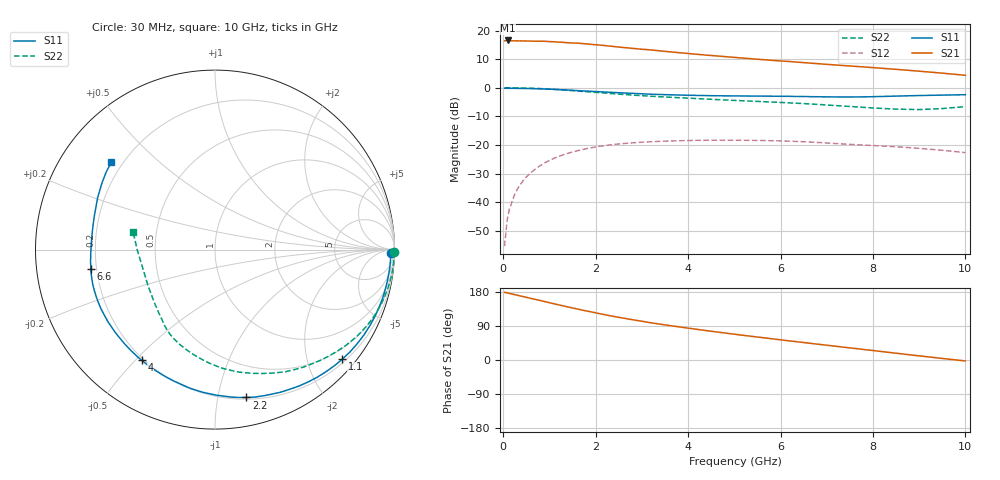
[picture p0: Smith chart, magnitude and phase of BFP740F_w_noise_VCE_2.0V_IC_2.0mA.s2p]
! Infineon Technologies  Discrete & RF Semiconductors
! BFP740F
! VCE =  2.0 V,  IC =  2.0 mA
! Common Emitter S-Parameters:  Oct 2012
# GHz  S  MA  R  50
!  f  S11  S21  S12  S22
! GHz  MAG  ANG  MAG  ANG  MAG  ANG  MAG  ANG
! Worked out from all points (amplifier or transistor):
!   99 points, 30 MHz to 10 GHz, reference 50 ohm
!   highest |S21| = 16.5 dB at 100 MHz (marker M1)
!   |S21| within 3 dB of that: start of sweep to 2.951 GHz
!   unconditionally stable (mu >= 1): 9.487 GHz to end of sweep
!   at 350 MHz: K = 0.01, MSG = 25.3 dB, |S12| = -34.3 dB
!   at 3.5 GHz: K = 0.22, MSG = 15.7 dB, |S12| = -18.7 dB
!   at 10 GHz: K = 1.09, MAG = 11.7 dB, |S12| = -22.7 dB
!   lowest NFmin = 0.37 dB at 450 MHz
!   S11 on the Smith chart (normalised r, x): 30 MHz: 52, -49; 1.1 GHz: 0.27, -2.66; 2.2 GHz: 0.21, -1.21; 4 GHz: 0.19, -0.52; 6.6 GHz: 0.18, -0.08; 10 GHz: 0.16, +0.36
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0.03  0.9798 -1.1  6.63 178.5  0.0017 90.6  0.9994 -0.8
0.04  0.98 -1.5  6.623 178.2  0.0023 88.0  0.999 -1.0
0.1  0.9793 -3.8  6.712 176.7  0.0056 86.1  0.9987 -2.6
0.25  0.9764 -9.4  6.614 172.4  0.0137 82.6  0.9958 -6.5
0.45  0.9718 -16.8  6.563 166.8  0.025 78.6  0.9888 -11.7
0.9  0.95 -33.6  6.496 154.1  0.0486 67.2  0.9585 -23.4
1.1  0.9356 -40.8  6.366 148.3  0.0583 62.1  0.9384 -28.6
1.3  0.919 -47.9  6.218 142.7  0.0673 57.0  0.9153 -33.7
1.7  0.8821 -61.9  5.939 131.9  0.0825 47.4  0.8658 -43.5
2.2  0.8423 -78.0  5.461 119.5  0.0974 36.2  0.8061 -55.6
2.7  0.8035 -92.2  4.971 108.3  0.1074 26.6  0.7541 -65.9
3.1  0.7773 -102.8  4.654 100.1  0.1129 19.9  0.7197 -73.4
3.4  0.7619 -110.1  4.415 94.5  0.1156 15.1  0.6963 -78.6
4  0.7394 -123.5  3.971 84.1  0.1194 6.7  0.6582 -87.3
4.6  0.725 -136.1  3.61 74.3  0.1209 -1.0  0.6221 -95.2
5.1  0.7193 -145.8  3.344 66.5  0.1209 -7.0  0.5963 -101.7
5.9  0.7108 -159.6  2.985 54.7  0.1182 -16.1  0.5585 -111.8
6.6  0.7003 -171.1  2.715 44.6  0.1129 -23.9  0.5232 -120.5
6.7  0.6979 -172.7  2.673 43.2  0.1118 -24.9  0.5174 -121.6
7.8  0.6935 168.0  2.315 27.7  0.0995 -33.5  0.4538 -137.0
8.5  0.7145 156.3  2.098 17.9  0.093 -38.6  0.4228 -152.5
10  0.7557 140.0  1.652 -2.5  0.0735 -48.3  0.4679 167.6
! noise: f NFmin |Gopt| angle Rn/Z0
0.45  0.37  0.55  9  0.3
0.9  0.44  0.56  17  0.26
1.5  0.55  0.55  27  0.24
1.9  0.63  0.52  37  0.24
2.4  0.73  0.49  45  0.24
3.5  0.95  0.44  70  0.23
5.5  1.33  0.35  115  0.23
10  2.08  0.52  -136  0.1
